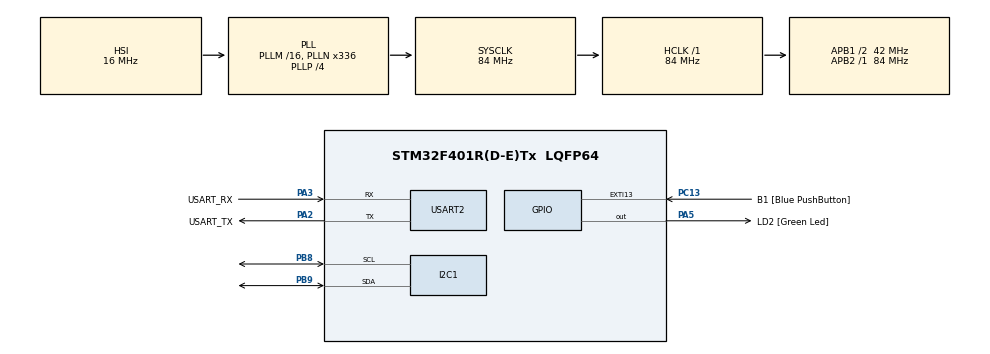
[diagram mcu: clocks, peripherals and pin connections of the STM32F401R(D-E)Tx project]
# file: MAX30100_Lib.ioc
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Mcu.Family=STM32F4
Mcu.Name=STM32F401R(D-E)Tx
Mcu.Package=LQFP64
NVIC.PriorityGroup=NVIC_PRIORITYGROUP_0
PA13.GPIO_Label=TMS
PA13.Mode=Serial_Wire
PA13.Signal=SYS_JTMS-SWDIO
PA14.GPIO_Label=TCK
PA14.Mode=Serial_Wire
PA14.Signal=SYS_JTCK-SWCLK
PA2.GPIO_Label=USART_TX
PA2.GPIO_Mode=GPIO_MODE_AF_PP
PA2.GPIO_PuPd=GPIO_NOPULL
PA2.GPIO_Speed=GPIO_SPEED_FREQ_LOW
PA2.Mode=Asynchronous
PA2.Signal=USART2_TX
PA3.GPIO_Label=USART_RX
PA3.GPIO_Mode=GPIO_MODE_AF_PP
PA3.GPIO_PuPd=GPIO_NOPULL
PA3.GPIO_Speed=GPIO_SPEED_FREQ_LOW
PA3.Mode=Asynchronous
PA3.Signal=USART2_RX
PA5.GPIO_Label=LD2 [Green Led]
PA5.GPIO_Mode=GPIO_MODE_OUTPUT_PP
PA5.GPIO_PuPd=GPIO_NOPULL
PA5.GPIO_Speed=GPIO_SPEED_FREQ_LOW
PA5.Signal=GPIO_Output
PB3.GPIO_Label=SWO
PB3.Signal=SYS_JTDO-SWO
PB8.GPIO_Pu=GPIO_PULLUP
PB8.Mode=I2C
PB8.Signal=I2C1_SCL
PB9.GPIO_Pu=GPIO_PULLUP
PB9.Mode=I2C
PB9.Signal=I2C1_SDA
PC13-ANTI_TAMP.GPIO_Label=B1 [Blue PushButton]
PC13-ANTI_TAMP.GPIO_ModeDefaultEXTI=GPIO_MODE_IT_FALLING
PC13-ANTI_TAMP.GPIO_PuPd=GPIO_NOPULL
PC13-ANTI_TAMP.Signal=GPXTI13
PC14-OSC32_IN.Mode=LSE-External-Oscillator
PC14-OSC32_IN.Signal=RCC_OSC32_IN
PC15-OSC32_OUT.Mode=LSE-External-Oscillator
PC15-OSC32_OUT.Signal=RCC_OSC32_OUT
PH0\ -\ OSC_IN.Mode=HSE-External-Clock-Source
PH0\ -\ OSC_IN.Signal=RCC_OSC_IN
PH1\ -\ OSC_OUT.Mode=HSE-External-Clock-Source
PH1\ -\ OSC_OUT.Signal=RCC_OSC_OUT
ProjectManager.HeapSize=0x200
ProjectManager.StackSize=0x400
ProjectManager.TargetToolchain=STM32CubeIDE
RCC.48MHZClocksFreq_Value=48000000
RCC.AHBFreq_Value=84000000
RCC.APB1CLKDivider=RCC_HCLK_DIV2
RCC.APB1Freq_Value=42000000
RCC.APB1TimFreq_Value=84000000
RCC.APB2Freq_Value=84000000
RCC.APB2TimFreq_Value=84000000
RCC.CortexFreq_Value=84000000
RCC.HCLKFreq_Value=84000000
RCC.HSE_VALUE=8000000
RCC.HSI_VALUE=16000000
RCC.PLLN=336
RCC.PLLP=RCC_PLLP_DIV4
RCC.PLLQ=7
RCC.SYSCLKFreq_VALUE=84000000
RCC.SYSCLKSource=RCC_SYSCLKSOURCE_PLLCLK
RCC.VCOOutputFreq_Value=336000000
USART2.VirtualMode=VM_ASYNC
board=NUCLEO-F401RE

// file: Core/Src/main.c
/* USER CODE BEGIN Header */
/**
 ******************************************************************************
 * @file           : main.c
 * @brief          : Main program body
 ******************************************************************************
 * @attention
 *
 * Copyright (c) 2023 STMicroelectronics.
 * All rights reserved.
 *
 * This software is licensed under terms that can be found in the LICENSE file
 * in the root directory of this software component.
 * If no LICENSE file comes with this software, it is provided AS-IS.
 *
 ******************************************************************************
 */
/* USER CODE END Header */
#include "main.h"

/* USER CODE BEGIN Includes */
#include "BML_DEF.h"
#include "uart.h"
#include "max30100.h"
/* USER CODE END Includes */

I2C_HandleTypeDef hi2c1;

UART_HandleTypeDef huart2;

/* USER CODE BEGIN PV */
max30100_config_t max30100 = { 0 };
/* USER CODE END PV */

void SystemClock_Config(void);
static void MX_GPIO_Init(void);
static void MX_USART2_UART_Init(void);
static void MX_I2C1_Init(void);

int main(void) {

	/* MCU Configuration--------------------------------------------------------*/

	/* Reset of all peripherals, Initializes the Flash interface and the Systick. */
	HAL_Init();

	/* Configure the system clock */
	SystemClock_Config();

	/* Initialize all configured peripherals */
	MX_GPIO_Init();
	MX_USART2_UART_Init();
	MX_I2C1_Init();
	/* USER CODE BEGIN 2 */
	print("Running\n");

//	if(HAL_I2C_IsDeviceReady(&hi2c1, 0x57 << 1, 2, 10) != HAL_OK){
//		print("Device not found\n");
//	}
//	else{
//		print("Device found\n");
//	}

	max30100_init(&max30100, &hi2c1, MAX30100_DEFAULT_OPERATING_MODE,
	MAX30100_DEFAULT_SAMPLING_RATE, MAX30100_DEFAULT_LED_PULSE_WIDTH,
	MAX30100_DEFAULT_IR_LED_CURRENT,
	MAX30100_DEFAULT_START_RED_LED_CURRENT,
	MAX30100_DEFAULT_MEAN_FILTER_SIZE,
	MAX30100_DEFAULT_PULSE_BPM_SAMPLE_SIZE,
	true,
	false);

	print("MAX30100 Test\n");
	max30100_data_t result = { };

	uint32_t startTime = HAL_GetTick(), lapsedTime = 500;

	/* USER CODE END 2 */

	/* Infinite loop */
	/* USER CODE BEGIN WHILE */
	while (1) {

		if (max30100_update(&max30100, &result) != HAL_OK) {
			print("Error Reading...Retrying\n");
			MX_I2C1_Init();
			max30100_init(&max30100, &hi2c1, MAX30100_DEFAULT_OPERATING_MODE,
			MAX30100_DEFAULT_SAMPLING_RATE, MAX30100_DEFAULT_LED_PULSE_WIDTH,
			MAX30100_DEFAULT_IR_LED_CURRENT,
			MAX30100_DEFAULT_START_RED_LED_CURRENT,
			MAX30100_DEFAULT_MEAN_FILTER_SIZE,
			MAX30100_DEFAULT_PULSE_BPM_SAMPLE_SIZE,
			true,
			false);
			Delay(1000);
		} else {

			if (result.pulse_detected) {
				print("BEAT\n");
			}
			if (HAL_GetTick() - startTime > lapsedTime) {
				if (result.ir_dc_value < 10000.00) {
					print("No finger Detected\n");
					max30100.current_bpm = 0.0;
					max30100.current_spO2 = 0.0;
				} else {
					print("BPM: %0.2f | SpO2: %0.2f%%\n", result.heart_bpm,
							result.spO2);
				}

				startTime = HAL_GetTick();
			}
//			HAL_Delay(10);

//			print("%0.2f, %0.2f\n", result.dc_filtered_ir, result.dc_filtered_red);
		}

		/* USER CODE END WHILE */

	}
}

void SystemClock_Config(void) {
	RCC_OscInitTypeDef RCC_OscInitStruct = { 0 };
	RCC_ClkInitTypeDef RCC_ClkInitStruct = { 0 };

	/** Configure the main internal regulator output voltage
	 */
	__HAL_RCC_PWR_CLK_ENABLE();
	__HAL_PWR_VOLTAGESCALING_CONFIG(PWR_REGULATOR_VOLTAGE_SCALE2);

	/** Initializes the RCC Oscillators according to the specified parameters
	 * in the RCC_OscInitTypeDef structure.
	 */
	RCC_OscInitStruct.OscillatorType = RCC_OSCILLATORTYPE_HSI;
	RCC_OscInitStruct.HSIState = RCC_HSI_ON;
	RCC_OscInitStruct.HSICalibrationValue = RCC_HSICALIBRATION_DEFAULT;
	RCC_OscInitStruct.PLL.PLLState = RCC_PLL_ON;
	RCC_OscInitStruct.PLL.PLLSource = RCC_PLLSOURCE_HSI;
	RCC_OscInitStruct.PLL.PLLM = 16;
	RCC_OscInitStruct.PLL.PLLN = 336;
	RCC_OscInitStruct.PLL.PLLP = RCC_PLLP_DIV4;
	RCC_OscInitStruct.PLL.PLLQ = 7;
	if (HAL_RCC_OscConfig(&RCC_OscInitStruct) != HAL_OK) {
		Error_Handler();
	}

	/** Initializes the CPU, AHB and APB buses clocks
	 */
	RCC_ClkInitStruct.ClockType = RCC_CLOCKTYPE_HCLK | RCC_CLOCKTYPE_SYSCLK
			| RCC_CLOCKTYPE_PCLK1 | RCC_CLOCKTYPE_PCLK2;
	RCC_ClkInitStruct.SYSCLKSource = RCC_SYSCLKSOURCE_PLLCLK;
	RCC_ClkInitStruct.AHBCLKDivider = RCC_SYSCLK_DIV1;
	RCC_ClkInitStruct.APB1CLKDivider = RCC_HCLK_DIV2;
	RCC_ClkInitStruct.APB2CLKDivider = RCC_HCLK_DIV1;

	if (HAL_RCC_ClockConfig(&RCC_ClkInitStruct, FLASH_LATENCY_2) != HAL_OK) {
		Error_Handler();
	}
}

static void MX_I2C1_Init(void) {

	hi2c1.Instance = I2C1;
	hi2c1.Init.ClockSpeed = 100000;
	hi2c1.Init.DutyCycle = I2C_DUTYCYCLE_2;
	hi2c1.Init.OwnAddress1 = 0;
	hi2c1.Init.AddressingMode = I2C_ADDRESSINGMODE_7BIT;
	hi2c1.Init.DualAddressMode = I2C_DUALADDRESS_DISABLE;
	hi2c1.Init.OwnAddress2 = 0;
	hi2c1.Init.GeneralCallMode = I2C_GENERALCALL_DISABLE;
	hi2c1.Init.NoStretchMode = I2C_NOSTRETCH_DISABLE;
	if (HAL_I2C_Init(&hi2c1) != HAL_OK) {
		Error_Handler();
	}

}

static void MX_USART2_UART_Init(void) {

	huart2.Instance = USART2;
	huart2.Init.BaudRate = 9600;
	huart2.Init.WordLength = UART_WORDLENGTH_8B;
	huart2.Init.StopBits = UART_STOPBITS_1;
	huart2.Init.Parity = UART_PARITY_NONE;
	huart2.Init.Mode = UART_MODE_TX_RX;
	huart2.Init.HwFlowCtl = UART_HWCONTROL_NONE;
	huart2.Init.OverSampling = UART_OVERSAMPLING_16;
	if (HAL_UART_Init(&huart2) != HAL_OK) {
		Error_Handler();
	}

}

static void MX_GPIO_Init(void) {
	GPIO_InitTypeDef GPIO_InitStruct = { 0 };

	/* GPIO Ports Clock Enable */
	__HAL_RCC_GPIOC_CLK_ENABLE();
	__HAL_RCC_GPIOH_CLK_ENABLE();
	__HAL_RCC_GPIOA_CLK_ENABLE();
	__HAL_RCC_GPIOB_CLK_ENABLE();

	/*Configure GPIO pin Output Level */
	HAL_GPIO_WritePin(LD2_GPIO_Port, LD2_Pin, GPIO_PIN_RESET);

	/*Configure GPIO pin : B1_Pin */
	GPIO_InitStruct.Pin = B1_Pin;
	GPIO_InitStruct.Mode = GPIO_MODE_IT_FALLING;
	GPIO_InitStruct.Pull = GPIO_NOPULL;
	HAL_GPIO_Init(B1_GPIO_Port, &GPIO_InitStruct);

	/*Configure GPIO pin : LD2_Pin */
	GPIO_InitStruct.Pin = LD2_Pin;
	GPIO_InitStruct.Mode = GPIO_MODE_OUTPUT_PP;
	GPIO_InitStruct.Pull = GPIO_NOPULL;
	GPIO_InitStruct.Speed = GPIO_SPEED_FREQ_LOW;
	HAL_GPIO_Init(LD2_GPIO_Port, &GPIO_InitStruct);

}

void Error_Handler(void) {
	__disable_irq();
	while (1) {
	}
}
